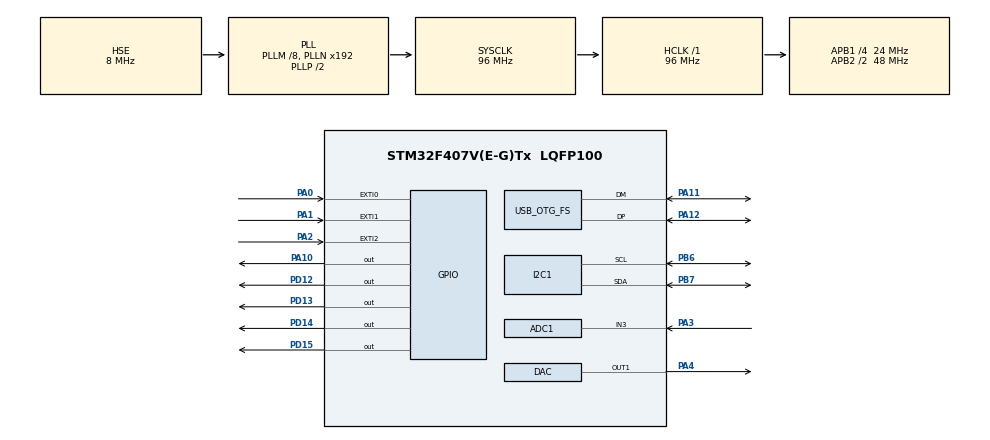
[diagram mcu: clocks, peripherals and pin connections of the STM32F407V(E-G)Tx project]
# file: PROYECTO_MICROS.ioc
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ADC1.Channel-0\#ChannelRegularConversion=ADC_CHANNEL_3
ADC1.NbrOfConversionFlag=1
ADC1.Rank-0\#ChannelRegularConversion=1
ADC1.SamplingTime-0\#ChannelRegularConversion=ADC_SAMPLETIME_3CYCLES
ADC1.master=1
Dma.DAC1.0.Direction=DMA_MEMORY_TO_PERIPH
Dma.DAC1.0.FIFOMode=DMA_FIFOMODE_DISABLE
Dma.DAC1.0.Instance=DMA1_Stream5
Dma.DAC1.0.MemDataAlignment=DMA_MDATAALIGN_HALFWORD
Dma.DAC1.0.MemInc=DMA_MINC_ENABLE
Dma.DAC1.0.Mode=DMA_NORMAL
Dma.DAC1.0.PeriphDataAlignment=DMA_PDATAALIGN_HALFWORD
Dma.DAC1.0.PeriphInc=DMA_PINC_DISABLE
Dma.DAC1.0.Priority=DMA_PRIORITY_LOW
Dma.Request0=DAC1
Mcu.Family=STM32F4
Mcu.Name=STM32F407V(E-G)Tx
Mcu.Package=LQFP100
NVIC.ADC_IRQn=true\:0\:0\:false\:false\:true\:true\:true\:true
NVIC.DMA1_Stream5_IRQn=true\:0\:0\:false\:false\:true\:false\:true\:true
NVIC.OTG_FS_IRQn=true\:0\:0\:false\:false\:true\:true\:true\:true
NVIC.PriorityGroup=NVIC_PRIORITYGROUP_0
NVIC.TIM6_DAC_IRQn=true\:0\:0\:false\:false\:true\:true\:true\:true
PA0-WKUP.Signal=GPXTI0
PA1.Signal=GPXTI1
PA10.Signal=GPIO_Output
PA11.Mode=Host_Only
PA11.Signal=USB_OTG_FS_DM
PA12.Mode=Host_Only
PA12.Signal=USB_OTG_FS_DP
PA2.Signal=GPXTI2
PA3.Signal=ADCx_IN3
PA4.Signal=COMP_DAC1_group
PB6.Mode=I2C
PB6.Signal=I2C1_SCL
PB7.Mode=I2C
PB7.Signal=I2C1_SDA
PD12.Signal=GPIO_Output
PD13.Signal=GPIO_Output
PD14.Signal=GPIO_Output
PD15.Signal=GPIO_Output
PH0-OSC_IN.Mode=HSE-External-Oscillator
PH0-OSC_IN.Signal=RCC_OSC_IN
PH1-OSC_OUT.Mode=HSE-External-Oscillator
PH1-OSC_OUT.Signal=RCC_OSC_OUT
ProjectManager.HeapSize=0x200
ProjectManager.StackSize=0x400
ProjectManager.TargetToolchain=STM32CubeIDE
RCC.48MHZClocksFreq_Value=48000000
RCC.AHBFreq_Value=96000000
RCC.APB1CLKDivider=RCC_HCLK_DIV4
RCC.APB1Freq_Value=24000000
RCC.APB1TimFreq_Value=48000000
RCC.APB2CLKDivider=RCC_HCLK_DIV2
RCC.APB2Freq_Value=48000000
RCC.APB2TimFreq_Value=96000000
RCC.CortexFreq_Value=96000000
RCC.HCLKFreq_Value=96000000
RCC.HSE_VALUE=8000000
RCC.HSI_VALUE=16000000
RCC.PLLM=8
RCC.SYSCLKFreq_VALUE=96000000
RCC.SYSCLKSource=RCC_SYSCLKSOURCE_PLLCLK
RCC.VCOOutputFreq_Value=192000000
SH.ADCx_IN3.0=ADC1_IN3,IN3
SH.COMP_DAC1_group.0=DAC_OUT1,DAC_OUT1
TIM6.Period=9999
TIM6.Prescaler=2399
USB_OTG_FS.VirtualMode=Host_Only
USB_OTG_FS.phy_itface=HCD_PHY_EMBEDDED
VP_TIM6_VS_ClockSourceINT.Mode=Enable_Timer
board=STM32F407G-DISC1

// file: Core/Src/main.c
/* USER CODE BEGIN Header */
/**
  ******************************************************************************
  * @file           : main.c
  * @brief          : Main program body
  ******************************************************************************
  * @attention
  *
  * Copyright (c) 2025 STMicroelectronics.
  * All rights reserved.
  *
  * This software is licensed under terms that can be found in the LICENSE file
  * in the root directory of this software component.
  * If no LICENSE file comes with this software, it is provided AS-IS.
  *
  ******************************************************************************
  */
/* USER CODE END Header */
#include "main.h"
#include "fatfs.h"
#include "usb_host.h"

/* USER CODE BEGIN Includes */
#include "string.h"
#include "i2c_lcd.h" //Librería de https://github.com/alixahedi/i2c-lcd-stm32?tab=readme-ov-file#usage
#include <stm32f4xx_hal_i2c.h>
/* USER CODE END Includes */

/* USER CODE BEGIN PTD */

//Lista del catálogo
typedef struct catalogo{
	char nombre[TAM_STRING];
	char nombre_mp4[TAM_STRING]; //nombre del archivo con extension .mp4 y path de la carpeta con el audio
	char nombre_txt[TAM_STRING]; //nombre del archivo con extension .txt y path de la carpeta con la letra
	struct catalogo* siguiente;
	struct catalogo* anterior;
} catalogo;

/* USER CODE END PTD */

/* USER CODE BEGIN PD */

#define TAM_BUFFER_TEXT 1024
#define TAM_BUFFER_AUDIO 1024
#define TAM_STRING 100

/* USER CODE END PD */

ADC_HandleTypeDef hadc1;

DAC_HandleTypeDef hdac;
DMA_HandleTypeDef hdma_dac1;

I2C_HandleTypeDef hi2c1;

TIM_HandleTypeDef htim6;

/* USER CODE BEGIN PV */

I2C_LCD_HandleTypeDef lcd1;

//Lectura de USB
FATFS FatFs;      // Instancia de FatFS

FIL texto;          // Objeto de archivo para texto
FIL auidio;			// Objeto de archivo para audio

FRESULT fd_USB;     // Código de resultado de FatFS
UINT bytesRead;		//Bytes leidos

//Tiempo
uint8_t t_letra_deseado; //tiempo que debe permanecer la letra (s)
uint8_t t_letra_actual; //tiempo que lleva la letra en pantalla (s)
volatile uint8_t nueva_cancion; //Flag para indicar cambios de canción
char buffer_texto[TAM_BUFFER_TEXT];
catalogo *cat = NULL;

// banderas
volatile uint8_t FLAG_SIGUIENTE = 0;
volatile uint8_t FLAG_ANTERIOR = 0;
volatile int button_int=0;
volatile estado = 0;
volatile uint8_t valpot;
volatile uint8_t ma_tranfer_complete_flag;

/* USER CODE END PV */

void SystemClock_Config(void);
static void MX_GPIO_Init(void);
static void MX_DMA_Init(void);
static void MX_DAC_Init(void);
static void MX_I2C1_Init(void);
static void MX_TIM6_Init(void);
static void MX_ADC1_Init(void);
void MX_USB_HOST_Process(void);

/* USER CODE BEGIN PFP */
void init_lcds(void);

//USB y ficheros
uint8_t MontarUSB(void);
uint8_t AbrirFichero(char* nombre_fichero, FIL* file);
uint8_t LeerFicheroTexto(FIL* file, char* buffer); //No es responsable del envio por pantalla LCD
uint8_t ReproducirFicheroSonido(void); //También lo envía por DMA a la salida de audio.

//Procesado de información de ficheros de texto
catalogo* GenerarCatalogo(char* buffer_catalogo);
void EliminarCatalogo(catalogo** cat);
catalogo* MostrarCatalogo(catalogo* cat);
void EnviarLetra(char* buffer_letra);

// Botones y potenciómetro
void Button1Pressed(void);
void Button2Pressed(void);
void Button3Pressed(void);
void LeerPotenciometro(void);
void setvolumen(uint8_t volume);
int debouncer(volatile int* button_int, GPIO_TypeDef* GPIO_port, uint16_t GPIO_number);
/* USER CODE END PFP */

/* USER CODE BEGIN 0 */

void init_lcds(void){
	lcd1.hi2c = &hi2c1;     // hi2c1 is your I2C handler
    	lcd1.address = 0x4E;    // I2C address for the first LCD
    	lcd_init(&lcd1);        // Initialize the first LCD
}

uint8_t MontarUSB(void){
	fd_USB = f_mount(&FatFs, "", 0);  // Monta el dispositivo USB

	if(fd_USB != FR_OK){
		//Eviar mensaje por LCD avisando de que no se encuentra un LCD

		lcd_gotoxy(&lcd1, 0, 1);
		lcd_puts(&lcd1, "ERROR AL CONECTAR USB");

		return 1; //Se considera 1 como error al montar el USB (Puede ser interesante cambiarlo por un enum)
	}
	return 0;
}

uint8_t AbrirFichero(char* nombre_fichero, FIL* file){

	fd_USB = f_open(file, nombre_fichero, FA_READ);

	if(fd_USB == FR_OK){
		return 0;
	}
	//Mensaje de error al abrir archivo

	lcd_gotoxy(&lcd1, 0, 1);
	lcd_puts(&lcd1, "ERROR AL ABRIR ARCHIVO");

	return 2; //Se considera 2 como error al abrir archivo (Puede ser interesante cambiarlo por un enum)
}

uint8_t LeerFicheroTexto(FIL* file, char* buffer){

	fd_USB = f_read(&file, buffer, sizeof(buffer) - 1, &bytesRead);
	if(fd_USB == FR_OK){
		buffer[bytesRead] = '\0';
		return 0;
	}
	lcd_gotoxy(&lcd1, 0, 1);
	lcd_puts(&lcd1, "ERROR AL LEER ARCHIVO");

	return 3; //Se considera 3 como error al leer el archivo (Puede ser interesante cambiarlo por un enum)

}

uint8_t ReproducirFicheroSonido(){
	static unsigned int bytesAudio = 0;
	static uint16_t buffer_audio[TAM_BUFFER_AUDIO];

	if(dma_transfer_complete_flag){
		fd_USB = f_read(&auidio, buffer_audio, TAM_BUFFER_AUDIO, &bytesAudio);

		if(fd_USB == FR_OK){
			//Si se ha acabado salimos de la función
			if(bytesAudio == 0){
				return 0;
			}
			//Si no, enviamos por dma
			HAL_DAC_Start_DMA(&hdac, DAC_CHANNEL_1, buffer_audio, TAM_BUFFER_AUDIO, DAC_ALIGN_12B_R);
		}

		//MENSAJE ERROR
		lcd_gotoxy(&lcd1, 0, 1);
		lcd_puts(&lcd1, "ERROR AL LEER ARCHIVO");

		return 3;
	}
	return 0;
}

void HAL_DAC_ConvCpltCallbackCh1(DAC_HandleTypedef *hdac){
	dma_transfer_complete_flag = 1; // Actualizar flag
}

catalogo* GenerarCatalogo(char* buffer_catalogo){
	catalogo* cat, *cat_anterior;
	catalogo* primer_cat;

	char n[TAM_STRING];

	//Creamos la lista

	strncpy(n, strtok(texto_copia, "\n"), TAM_STRING);
	while (n != NULL) {

		if(cat == NULL){
			cat = (catologo*)malloc(sizeof(catalogo));

			strncpy(cat->nombre,"");
			strncpy(cat->nombre_mp4,"./audio/");
			strncpy(cat->nombre_txt,"./letra/");
			cat->siguiente = NULL;
			cat->anterior = NULL;

			primer_cat = cat;
		}
		else{
			cat_anterior = cat;

			cat->siguiente = malloc(sizeof(catalogo));
			cat = cat->siguiente;

			strncpy(cat->nombre,"");
			strncpy(cat->nombre_mp4,"./audio/");
			strncpy(cat->nombre_txt,"./letra/");
			cat->siguiente = NULL;
			cat->anterior = cat_anterior;
		}

		//Asignacion en la lista circular
		strncpy(cat->nombre, n);

		strncpy(cat->nombre_mp4, strcat(cat->nombre_mp4, n), TAM_STRING);
		strncpy(cat->nombre_mp4, strcat(cat->nombre_mp4,".mp4"), TAM_STRING);

		strncpy(cat->nombre_txt, strcat(cat->nombre_txt,n), TAM_STRING);
		strncpy(cat->nombre_txt, strcat(cat->nombre_txt,".txt"), TAM_STRING);

	    // Obtener la siguiente línea
	    strncpy(n, strtok(NULL, "\n"), TAM_STRING);
	}

	cat->siguiente = primer_cat;
	primer_cat->anterior = cat;

	return primer_cat;
}

void EliminarCatalogo(catalogo** cat){
	catalogo* siguiente, *actual;

	//Deshacemos primero la estructura circular
	actual = *cat;
	siguiente = actual->anterior;

	siguiente->siguiente = NULL;
	actual->anterior = NULL;

	while(actual != NULL){
		siguiente = actual->siguiente;
		free(actual);
		actual = siguiente;
	}
	*cat = NULL;
}

catalogo* MostrarCatalogo(catalogo* cat){

	catalogo* primer = cat;

	if(FLAG_SIGUIENTE){
		cat = cat->siguiente;
		FLAG_SIGUIENTE = 0;
	}

	if(FLAG_ANTERIOR){
		cat = cat->anterior;
		FLAG_ANTERIOR = 0;
	}

	if(cat == NULL){
		cat = primer;
	}

	lcd_gotoxy(&lcd1, 0, 1);
	lcd_puts(&lcd1, cat->nombre);

	return cat;
}

void EnviarLetra(char* buffer_letra){

	static char linea[TAM_STRING] = "";
	char t_deseado_str[TAM_STRING];

	if(t_letra_actual == 0){
		if(linea == "" || nueva_cancion == 1){
			strncpy(linea, strtok(buffer_letra, "\n"), TAM_STRING);
			nueva_cancion = 0;
		}
		else {
			strncpy(linea, strtok(buffer_letra, NULL), TAM_STRING);
		}
		//SACAR EL TIEMPO Y CONVERTIRLO
			strncpy(t_deseado_str,linea,2);
			t_letra_deseado = (t_deseado_str[0]-'0')*10+(t_deseado_str[1]-'0');

		lcd_gotoxy(&lcd1, 0, 1);
		lcd_puts(&lcd1, linea);
	}
	else if(t_letra_actual >= t_letra_deseado){
		t_letra_actual = 0;
	}
}

//Usar HAL_TIM_BASE_START para encenderlo al entrar en el estado ded la canción
void TIM6_IRQHandler(void) {
    HAL_TIM_IRQHandler(&htim6);  // Llamada al manejador de interrupción

    t_letra_actual += 1;

}

	// Definición de funciones declaradas
	void HAL_GPIO_EXTI_Callback(uint16_t GPIO_Pin){
	  static uint32_t t_button = 0;

	if(HAL_GetTick() - t_button > 10){
		if (GPIO_Pin == GPIO_PIN_0){ 		// Botón 1: Configurado en PA0
		  	Button1Pressed();
	  	}
	 	else if (GPIO_Pin == GPIO_PIN_1){	// Botón 2: Configurado en PA1
		  	Button2Pressed();
	  	}
	  	else if (GPIO_Pin == GPIO_PIN_2){	// Botón 3: Configurado en PA2
		  	Button3Pressed();
	  	}
		t_button = HAL_GetTick();
	}
}

	// Manejo del botón 1
	void Button1Pressed(){
	  switch(estado){
		case 1:	// Botón 1 en estado 1: Subir en la lista
		  	FLAG_ANTERIOR = 1;
		  	break;
		default:
			break;
	  }
	}

	// Manejo del botón 2
	void Button2Pressed(){
	  switch(estado){
		  case 1: // Botón 2 en estado 1: Seleccionar canción
		  	nueva_canción = 1;
		  	estado = 2;
		  	break;
		  case 2: // Botón 2 en estado 2: Pausar canción

		  	break;
		  case 3: // Botón 2 en estado 3: Reanudar canción (resume)

		  	break;
		  default:
		  	break;
	  }
}

	// Manejo del botón 3
	void Button3Pressed(){
	  switch(estado){
		  case 1: // Botón 3 en estado 1: Bajar en la lista
			  FLAG_SIGUIENTE;
			  break;
		  case 2: // Botón 3 en estado 2: Regreso a selección de canción
			  estado = 1;
			  f_close(&texto);
			  f_close(&auidio);
			  break;
		  default:
			  break;
	  }
}

	  // Lectura de potenciómetro (volumen)
	  void LeerPotenciometro(void){
		  HAL_ADC_Start(&hadc1);
		  HAL_ADC_PollForConversion(&hadc1, 1000); // Espera
		  valpot = HAL_ADC_GetValue(&hadc1);
	  }

	  // Determiar volumen según la lectura del potenciómetro
	  void setvolumen(uint8_t volume){
		  float volumen = (float)valpot/4095.0;

		  uint32_t salida_volumen = (uint32_t)(volumen * 4095);
		  HAL_DAC_SetValue(&hdac, DAC_CHANNEL_1, DAC_ALIGN_12B_R, salida_volumen);
		  HAL_Delay(10);
	  }

/* USER CODE END 0 */

int main(void)
{

  /* USER CODE BEGIN 1 */
uint8_t error;
  /* USER CODE END 1 */

  /* MCU Configuration--------------------------------------------------------*/

  /* Reset of all peripherals, Initializes the Flash interface and the Systick. */
  HAL_Init();

  /* Configure the system clock */
  SystemClock_Config();

  /* Initialize all configured peripherals */
  MX_GPIO_Init();
  MX_DMA_Init();
  MX_DAC_Init();
  MX_I2C1_Init();
  MX_TIM6_Init();
  MX_ADC1_Init();
  MX_FATFS_Init();
  MX_USB_HOST_Init();
  /* USER CODE BEGIN 2 */
  init_lcds();

  /* USER CODE END 2 */

  /* Infinite loop */
  while (1)
  {
    MX_USB_HOST_Process();

    /* USER CODE BEGIN 3 */

    switch(estado){
           case 0: //Main menu
               //printf("Main menu\n");
                 HAL_GPIO_WritePin(GPIOD, GPIO_PIN_12, GPIO_PIN_RESET);
                 HAL_GPIO_WritePin(GPIOD, GPIO_PIN_13, GPIO_PIN_RESET);
                 HAL_GPIO_WritePin(GPIOD, GPIO_PIN_14, GPIO_PIN_RESET);
                 HAL_GPIO_WritePin(GPIOD, GPIO_PIN_15, GPIO_PIN_RESET);

               	 HAL_GPIO_WritePin(GPIOD, GPIO_PIN_12, GPIO_PIN_SET);

		   if(MontarUSB() == 0){
		   	estado = 1;
			if(AbrirFicheroTexto("catalogo.txt", &texto)==0){
				error = LeerFicheroTexto(&texto, buffer_texto);
				f_close(&texto);

				cat = GenerarCatalogo(buffer_texto);
			}

		   }
               //Intriducir código LDC
           break;

           case 1: //Menu canciones USB - Como stop de cancion actual
               	//printf("Songs list\n");
        	HAL_GPIO_WritePin(GPIOD, GPIO_PIN_12, GPIO_PIN_RESET);
                HAL_GPIO_WritePin(GPIOD, GPIO_PIN_13, GPIO_PIN_RESET);
                HAL_GPIO_WritePin(GPIOD, GPIO_PIN_14, GPIO_PIN_RESET);
                HAL_GPIO_WritePin(GPIOD, GPIO_PIN_15, GPIO_PIN_RESET);

               	HAL_GPIO_WritePin(GPIOD, GPIO_PIN_13, GPIO_PIN_SET);

		cat = MostrarCatalogo(cat);

               //Intriducir código LDC y micro
           break;

           case 2: //Play cancion seleccionada
               //printf("Play song\n");
                 HAL_GPIO_WritePin(GPIOD, GPIO_PIN_12, GPIO_PIN_RESET);
                 HAL_GPIO_WritePin(GPIOD, GPIO_PIN_13, GPIO_PIN_RESET);
                 HAL_GPIO_WritePin(GPIOD, GPIO_PIN_14, GPIO_PIN_RESET);
                 HAL_GPIO_WritePin(GPIOD, GPIO_PIN_15, GPIO_PIN_RESET);

               	HAL_GPIO_WritePin(GPIOD, GPIO_PIN_14, GPIO_PIN_SET);

		if(nueva_cancion){
			if(AbrirFichero(cat -> nombre_mp4, &auidio)!=0 || AbrirFichero(cat -> nombre_txt, &texto)!=0){
				// Apertura correcta de fichero de audio y fichero de texto
				if(LeerFichero(&texto, buffer_texto) == 0)
					// Lee correctamente el fichero de texto

			}
			else
				estado = 3; // Estado de pausa para mostrar el mensaje de error
			break;
		}
		if (ReproducirFicheroSonido() == 0){
			EnviarLetra(buffer_texto);
		}
               //Introducir código LDC y micro
           break;

           case 3: //Pause cancion seleccionada
               //printf("Pause song\n");
                 HAL_GPIO_WritePin(GPIOD, GPIO_PIN_12, GPIO_PIN_RESET);
                 HAL_GPIO_WritePin(GPIOD, GPIO_PIN_13, GPIO_PIN_RESET);
                 HAL_GPIO_WritePin(GPIOD, GPIO_PIN_14, GPIO_PIN_RESET);
                 HAL_GPIO_WritePin(GPIOD, GPIO_PIN_15, GPIO_PIN_RESET);

               HAL_GPIO_WritePin(GPIOD, GPIO_PIN_15, GPIO_PIN_SET);
               //Introducir código LDC y micro
           break;

           default: //Volver a pulsar un botón, la has liado
           break;
       }
  }
  /* USER CODE END 3 */
}

void SystemClock_Config(void)
{
  RCC_OscInitTypeDef RCC_OscInitStruct = {0};
  RCC_ClkInitTypeDef RCC_ClkInitStruct = {0};

  /** Configure the main internal regulator output voltage
  */
  __HAL_RCC_PWR_CLK_ENABLE();
  __HAL_PWR_VOLTAGESCALING_CONFIG(PWR_REGULATOR_VOLTAGE_SCALE1);

  /** Initializes the RCC Oscillators according to the specified parameters
  * in the RCC_OscInitTypeDef structure.
  */
  RCC_OscInitStruct.OscillatorType = RCC_OSCILLATORTYPE_HSE;
  RCC_OscInitStruct.HSEState = RCC_HSE_ON;
  RCC_OscInitStruct.PLL.PLLState = RCC_PLL_ON;
  RCC_OscInitStruct.PLL.PLLSource = RCC_PLLSOURCE_HSE;
  RCC_OscInitStruct.PLL.PLLM = 8;
  RCC_OscInitStruct.PLL.PLLN = 192;
  RCC_OscInitStruct.PLL.PLLP = RCC_PLLP_DIV2;
  RCC_OscInitStruct.PLL.PLLQ = 4;
  if (HAL_RCC_OscConfig(&RCC_OscInitStruct) != HAL_OK)
  {
    Error_Handler();
  }

  /** Initializes the CPU, AHB and APB buses clocks
  */
  RCC_ClkInitStruct.ClockType = RCC_CLOCKTYPE_HCLK|RCC_CLOCKTYPE_SYSCLK
                              |RCC_CLOCKTYPE_PCLK1|RCC_CLOCKTYPE_PCLK2;
  RCC_ClkInitStruct.SYSCLKSource = RCC_SYSCLKSOURCE_PLLCLK;
  RCC_ClkInitStruct.AHBCLKDivider = RCC_SYSCLK_DIV1;
  RCC_ClkInitStruct.APB1CLKDivider = RCC_HCLK_DIV4;
  RCC_ClkInitStruct.APB2CLKDivider = RCC_HCLK_DIV2;

  if (HAL_RCC_ClockConfig(&RCC_ClkInitStruct, FLASH_LATENCY_3) != HAL_OK)
  {
    Error_Handler();
  }
}

static void MX_ADC1_Init(void)
{

  ADC_ChannelConfTypeDef sConfig = {0};

  /** Configure the global features of the ADC (Clock, Resolution, Data Alignment and number of conversion)
  */
  hadc1.Instance = ADC1;
  hadc1.Init.ClockPrescaler = ADC_CLOCK_SYNC_PCLK_DIV2;
  hadc1.Init.Resolution = ADC_RESOLUTION_12B;
  hadc1.Init.ScanConvMode = DISABLE;
  hadc1.Init.ContinuousConvMode = DISABLE;
  hadc1.Init.DiscontinuousConvMode = DISABLE;
  hadc1.Init.ExternalTrigConvEdge = ADC_EXTERNALTRIGCONVEDGE_NONE;
  hadc1.Init.ExternalTrigConv = ADC_SOFTWARE_START;
  hadc1.Init.DataAlign = ADC_DATAALIGN_RIGHT;
  hadc1.Init.NbrOfConversion = 1;
  hadc1.Init.DMAContinuousRequests = DISABLE;
  hadc1.Init.EOCSelection = ADC_EOC_SINGLE_CONV;
  if (HAL_ADC_Init(&hadc1) != HAL_OK)
  {
    Error_Handler();
  }

  /** Configure for the selected ADC regular channel its corresponding rank in the sequencer and its sample time.
  */
  sConfig.Channel = ADC_CHANNEL_3;
  sConfig.Rank = 1;
  sConfig.SamplingTime = ADC_SAMPLETIME_3CYCLES;
  if (HAL_ADC_ConfigChannel(&hadc1, &sConfig) != HAL_OK)
  {
    Error_Handler();
  }

}

static void MX_DAC_Init(void)
{

  DAC_ChannelConfTypeDef sConfig = {0};

  /** DAC Initialization
  */
  hdac.Instance = DAC;
  if (HAL_DAC_Init(&hdac) != HAL_OK)
  {
    Error_Handler();
  }

  /** DAC channel OUT1 config
  */
  sConfig.DAC_Trigger = DAC_TRIGGER_NONE;
  sConfig.DAC_OutputBuffer = DAC_OUTPUTBUFFER_ENABLE;
  if (HAL_DAC_ConfigChannel(&hdac, &sConfig, DAC_CHANNEL_1) != HAL_OK)
  {
    Error_Handler();
  }

}

static void MX_I2C1_Init(void)
{

  hi2c1.Instance = I2C1;
  hi2c1.Init.ClockSpeed = 100000;
  hi2c1.Init.DutyCycle = I2C_DUTYCYCLE_2;
  hi2c1.Init.OwnAddress1 = 0;
  hi2c1.Init.AddressingMode = I2C_ADDRESSINGMODE_7BIT;
  hi2c1.Init.DualAddressMode = I2C_DUALADDRESS_DISABLE;
  hi2c1.Init.OwnAddress2 = 0;
  hi2c1.Init.GeneralCallMode = I2C_GENERALCALL_DISABLE;
  hi2c1.Init.NoStretchMode = I2C_NOSTRETCH_DISABLE;
  if (HAL_I2C_Init(&hi2c1) != HAL_OK)
  {
    Error_Handler();
  }

}

static void MX_TIM6_Init(void)
{

  TIM_MasterConfigTypeDef sMasterConfig = {0};

  htim6.Instance = TIM6;
  htim6.Init.Prescaler = 2399;
  htim6.Init.CounterMode = TIM_COUNTERMODE_UP;
  htim6.Init.Period = 9999;
  htim6.Init.AutoReloadPreload = TIM_AUTORELOAD_PRELOAD_DISABLE;
  if (HAL_TIM_Base_Init(&htim6) != HAL_OK)
  {
    Error_Handler();
  }
  sMasterConfig.MasterOutputTrigger = TIM_TRGO_RESET;
  sMasterConfig.MasterSlaveMode = TIM_MASTERSLAVEMODE_DISABLE;
  if (HAL_TIMEx_MasterConfigSynchronization(&htim6, &sMasterConfig) != HAL_OK)
  {
    Error_Handler();
  }

}

static void MX_DMA_Init(void)
{

  /* DMA controller clock enable */
  __HAL_RCC_DMA1_CLK_ENABLE();

  /* DMA interrupt init */
  /* DMA1_Stream5_IRQn interrupt configuration */
  HAL_NVIC_SetPriority(DMA1_Stream5_IRQn, 0, 0);
  HAL_NVIC_EnableIRQ(DMA1_Stream5_IRQn);

}

static void MX_GPIO_Init(void)
{
  GPIO_InitTypeDef GPIO_InitStruct = {0};

  /* GPIO Ports Clock Enable */
  __HAL_RCC_GPIOH_CLK_ENABLE();
  __HAL_RCC_GPIOA_CLK_ENABLE();
  __HAL_RCC_GPIOD_CLK_ENABLE();
  __HAL_RCC_GPIOB_CLK_ENABLE();

  /*Configure GPIO pin Output Level */
  HAL_GPIO_WritePin(GPIOD, GPIO_PIN_12|GPIO_PIN_13|GPIO_PIN_14|GPIO_PIN_15, GPIO_PIN_RESET);

  /*Configure GPIO pin Output Level */
  HAL_GPIO_WritePin(GPIOA, GPIO_PIN_10, GPIO_PIN_RESET);

  /*Configure GPIO pins : PA0 PA1 PA2 */
  GPIO_InitStruct.Pin = GPIO_PIN_0|GPIO_PIN_1|GPIO_PIN_2;
  GPIO_InitStruct.Mode = GPIO_MODE_IT_RISING;
  GPIO_InitStruct.Pull = GPIO_PULLUP;
  HAL_GPIO_Init(GPIOA, &GPIO_InitStruct);

  /*Configure GPIO pins : PD12 PD13 PD14 PD15 */
  GPIO_InitStruct.Pin = GPIO_PIN_12|GPIO_PIN_13|GPIO_PIN_14|GPIO_PIN_15;
  GPIO_InitStruct.Mode = GPIO_MODE_OUTPUT_PP;
  GPIO_InitStruct.Pull = GPIO_NOPULL;
  GPIO_InitStruct.Speed = GPIO_SPEED_FREQ_LOW;
  HAL_GPIO_Init(GPIOD, &GPIO_InitStruct);

  /*Configure GPIO pin : PA10 */
  GPIO_InitStruct.Pin = GPIO_PIN_10;
  GPIO_InitStruct.Mode = GPIO_MODE_OUTPUT_PP;
  GPIO_InitStruct.Pull = GPIO_NOPULL;
  GPIO_InitStruct.Speed = GPIO_SPEED_FREQ_LOW;
  HAL_GPIO_Init(GPIOA, &GPIO_InitStruct);

}

void Error_Handler(void)
{
  __disable_irq();
  while (1)
  {
  }
}
